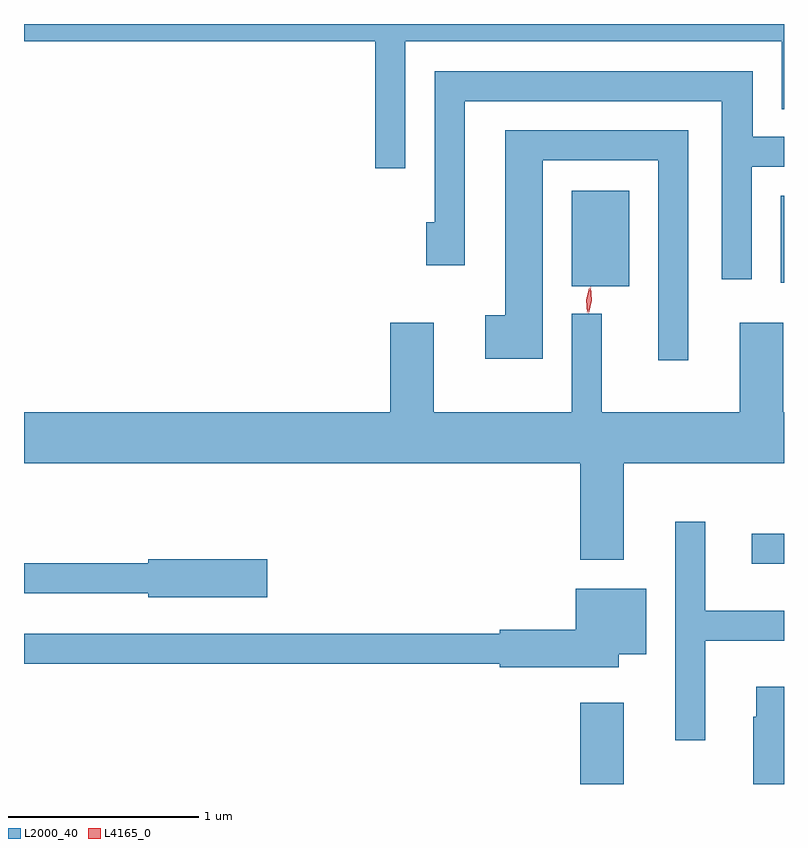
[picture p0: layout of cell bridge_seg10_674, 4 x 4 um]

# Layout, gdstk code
import gdstk
lib = gdstk.Library(unit=1e-6, precision=1e-09)
def R(c, l, rs):  # rectangles x0, y0, x1, y1
    for r in rs: c.add(gdstk.rectangle(r[:2], r[2:], *l))
def P(c, l, *ps):  # polygons
    for p in ps: c.add(gdstk.Polygon(p, *l))
L2000_40 = (2000, 40)
L4165_0 = (4165, 0)

bridge_seg10_674 = lib.new_cell('bridge_seg10_674')
R(bridge_seg10_674, L2000_40, [(882.431,2141.087,882.659,2141.514), (883.333,2142.246,883.503,2142.404), (882.386,2143.706,882.689,2144.209), (883.486,2143.726,883.503,2144.184)])
P(bridge_seg10_674, L2000_40, [(881.509,2144.996),(883.491,2144.996),(883.491,2144.638),(883.503,2144.638),(883.503,2145.087),(879.503,2145.087),(879.503,2144.996),(881.351,2144.996),(881.351,2144.328),(881.509,2144.328)],
  [(883.334,2144.336),(883.503,2144.336),(883.503,2144.494),(883.339,2144.494),(883.339,2144.839),(881.666,2144.839),(881.666,2144.044),(881.621,2144.044),(881.621,2143.816),(881.824,2143.816),(881.824,2144.681),(883.176,2144.681),(883.176,2143.743),(883.334,2143.743)],
  [(882.999,2144.529),(882.036,2144.529),(882.036,2143.554),(881.931,2143.554),(881.931,2143.326),(882.234,2143.326),(882.234,2144.371),(882.841,2144.371),(882.841,2143.318),(882.999,2143.318)],
  [(882.659,2142.776),(883.503,2142.776),(883.503,2143.044),(883.499,2143.044),(883.499,2143.514),(883.271,2143.514),(883.271,2143.044),(882.544,2143.044),(882.544,2143.563),(882.386,2143.563),(882.386,2143.044),(881.659,2143.044),(881.659,2143.514),(881.431,2143.514),(881.431,2143.044),(879.503,2143.044),(879.503,2142.776),(882.431,2142.776),(882.431,2142.266),(882.659,2142.266)],
  [(883.089,2141.841),(883.503,2141.841),(883.503,2141.999),(883.089,2141.999),(883.089,2142.468),(882.931,2142.468),(882.931,2141.318),(883.089,2141.318)],
  [(880.784,2142.269),(880.156,2142.269),(880.156,2142.249),(879.503,2142.249),(879.503,2142.091),(880.156,2142.091),(880.156,2142.071),(880.784,2142.071)],
  [(882.634,2141.771),(882.779,2141.771),(882.779,2142.114),(882.406,2142.114),(882.406,2141.899),(882.006,2141.899),(882.006,2141.879),(879.503,2141.879),(879.503,2141.721),(882.006,2141.721),(882.006,2141.701),(882.634,2141.701)],
  [(883.503,2141.599),(883.356,2141.599),(883.356,2141.44),(883.341,2141.44),(883.341,2141.087),(883.503,2141.087)])
P(bridge_seg10_674, L4165_0, [(882.475,2143.564),(882.475,2143.564),(882.471,2143.634),(882.486,2143.702),(882.487,2143.703),(882.487,2143.702),(882.491,2143.633),(882.476,2143.564)],
  [(882.467,2143.568),(882.467,2143.568),(882.463,2143.635),(882.478,2143.7),(882.479,2143.7),(882.479,2143.7),(882.483,2143.633),(882.468,2143.568)])

lib.write_gds('bridge_seg10_674.gds')
